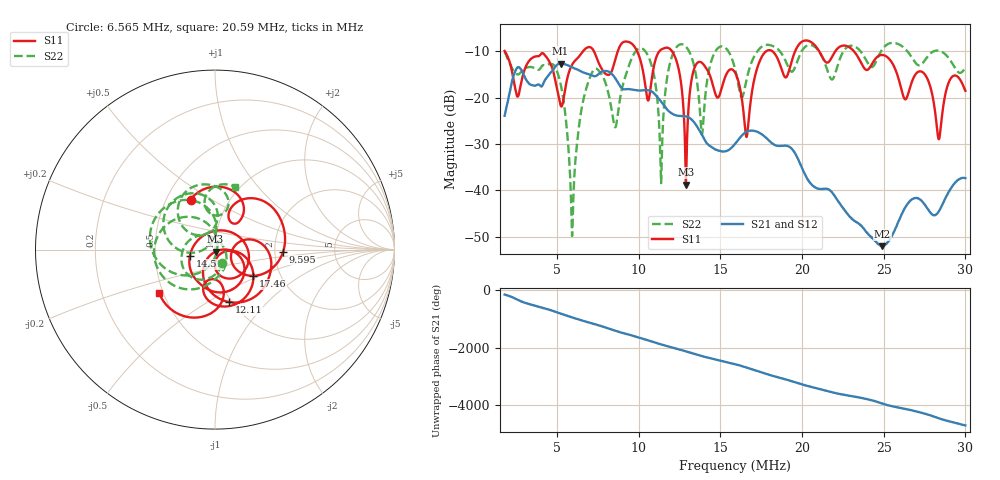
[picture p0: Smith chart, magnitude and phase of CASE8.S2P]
!Agilent Technologies,E5061B,MY49101568,A.02.00
!Date: Wed Mar 01 16:29:53 2023
!Data & Calibration Information:
!Freq	S11:SOLT2(OFF)	S21:SOLT2(OFF)	S12:SOLT2(OFF)	S22:SOLT2(OFF)
# Hz S dB R 50
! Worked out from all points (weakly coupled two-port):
!   1155 points, 1.8 MHz to 30 MHz, reference 50 ohm
!   highest |S21| = -12.65 dB at 5.221 MHz (marker M1); lowest = -52.0 dB at 24.92 MHz (marker M2)
!   lowest |S11| = -38.7 dB at 12.89 MHz (marker M3), VSWR 1.02, Z = 50.3 - j1.12 ohm
!   |S11| at or under -10 dB: 1.813 MHz to 6.6 MHz (4.786 MHz wide, 114 % of centre); 12.05 MHz to 17.81 MHz (5.76 MHz wide, 38.6 % of centre); 23.18 MHz to end of sweep (the widest 3 of 7)
!   |S22| runs from -49.8 to -8.2 dB; largest |S21 - S12| = 0.0031
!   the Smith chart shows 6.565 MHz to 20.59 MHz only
!   S11 on the Smith chart (normalised r, x): 6.565 MHz: 0.66, +0.41; 9.595 MHz: 2.23, -0.06; 12.11 MHz: 0.98, -0.63; 14.51 MHz: 0.75, -0.05; 17.46 MHz: 1.46, -0.46; 20.59 MHz: 0.48, -0.27
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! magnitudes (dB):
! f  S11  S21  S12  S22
! 1.8 MHz  -9.9  -23.9  -23.9  -10.1
! 5.221 MHz  -21.6  -12.6  -12.6  -16.9
! 5.93 MHz  -12.9  -13.5  -13.4  -49.8
! 6.516 MHz  -10.4  -14.4  -14.4  -22.3
! 6.565 MHz  -10.2  -14.5  -14.4  -21.4
! 8.593 MHz  -11.5  -15.9  -15.9  -26.3
! 9.595 MHz  -8.4  -18.3  -18.2  -11.4
! 10.57 MHz  -20.6  -18.4  -18.4  -10.9
! 11.21 MHz  -10.3  -20.1  -20.2  -22.9
! 12.11 MHz  -10.4  -23.6  -23.6  -10.4
! 12.89 MHz  -38.7  -24.1  -24.1  -9.0
! 13.87 MHz  -12.5  -28.0  -28.0  -28.0
! 14.51 MHz  -16.8  -30.8  -30.8  -11.5
! 15.9 MHz  -14.6  -30.0  -30.0  -13.8
! 16.61 MHz  -28.5  -27.4  -27.4  -16.1
! 17.46 MHz  -11.7  -27.7  -27.8  -9.2
! 20.59 MHz  -8.1  -38.8  -38.7  -8.7
! 20.62 MHz  -8.2  -38.8  -38.8  -8.7
! 24.92 MHz  -10.8  -52.0  -52.0  -9.6
! 25.31 MHz  -11.5  -50.9  -50.9  -8.4
! 28.36 MHz  -29.0  -44.6  -44.5  -9.9
! 30 MHz  -18.5  -37.4  -37.3  -13.5
